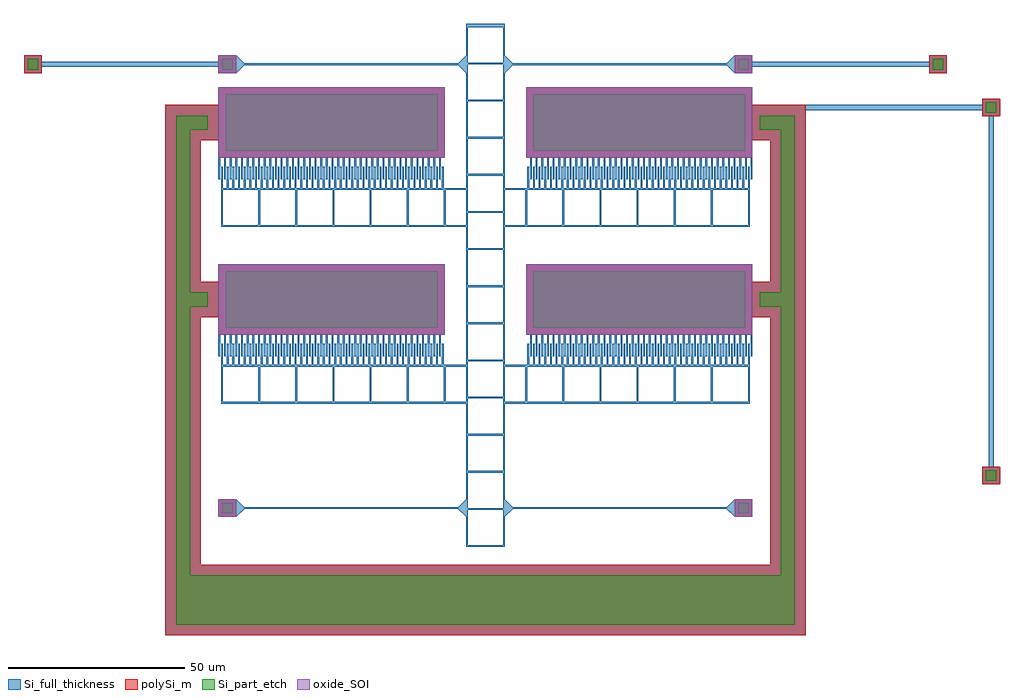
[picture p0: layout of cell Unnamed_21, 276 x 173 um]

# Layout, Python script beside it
import gdsfactory as gf
gf.gpdk.PDK.activate() # Activate generic PDK for version of layout not including custom PDK. Will replace references to generic PDK once custom PDK is implemented

# Definitions:
# Young's Modulus Doped PolySi, E: 160 GPa
# Spring/Comb Width,            b: 0.5 um
# Thickness Doped PolySi,       t: 1.5 um
# Length of Spring,             L: 60 um
# Gap of Comb,                  g: 0.3 um
# Voltage of Comb,              V: 10 V
# Permittivity of Free-Space,   e: 8.854 pF/m
# Displacement of Shuttle,      x: 0.55 um
# Number of Combs per CD,       n: 40

# Layers TODO update following placeholders once custom PDK created
DPOLY = (1,0) # doped poly
PSG = (2,0) # doped oxide, psg
UDPOLY = (3,0) # undoped poly
UDOXIDE = (4,0) # undoped oxide
METAL = (5,0) # metal
SOI = (6,0) # SOI Si


# Shuttle Code
shuttle = gf.Component() # Shuttle top-level component

# Longitudinal axis of shuttle
axis_outline = gf.Component()
axis_outline_pts = [(0,0),(11,0),(11,148),(0,148)] # 148um fits 14 10um etch holes at 10.5um pitch.
axis_outline.add_polygon(axis_outline_pts, layer=DPOLY)

# Single Etch Hole
etch_hole = gf.Component("Single Etch Hole")
etch_hole_pts = [(0.5,0.5),(10.5,0.5),(10.5,10.5),(0.5,10.5)]
etch_hole.add_polygon(etch_hole_pts, layer=DPOLY)

# Etch Hole Array
n_holes = 14
etch_holes = gf.Component("Etch Hole Array")
etch_holes.add_ref(etch_hole,
                   columns=1,
                   rows=n_holes,
                   column_pitch=10.5,
                   row_pitch=10.5)

shuttle = gf.boolean(A=axis_outline, B=etch_holes, operation="not", layer1=DPOLY, layer2=DPOLY, layer=DPOLY)

# Spring Code
spring = gf.Component()

# Linear Spring Code (uncomment to select)
spring_anchor = gf.Component()
spring_anchor_dpoly_pts = [(0,0),(5,0),(7.5,2.5),(5,5),(0,5)]
spring_anchor_psg_pts = [(1,1),(4,1),(4,4),(1,4)]
spring_anchor_rest_pts = [(0,0),(5,0),(5,5),(0,5)]
spring_anchor.add_polygon(spring_anchor_dpoly_pts, layer=DPOLY)
spring_anchor.add_polygon(spring_anchor_psg_pts, layer=PSG)
spring_anchor.add_polygon(spring_anchor_rest_pts, layer=UDPOLY)
spring_anchor.add_polygon(spring_anchor_rest_pts, layer=SOI)

spring_arm = gf.Component()
spring_arm_pts = [(6.5,2.25),(68.5,2.25),(68.5,2.75),(6.5,2.75)]
spring_arm.add_polygon(spring_arm_pts, layer=DPOLY)

spring_terminal = gf.Component()
spring_terminal_pts = [(67.5,2.5),(70,0),(70,5)]
spring_terminal.add_polygon(spring_terminal_pts, layer=DPOLY)

spring.add_ref(spring_anchor)
spring.add_ref(spring_arm)
spring.add_ref(spring_terminal)
spring.plot()

# Bistable Spring Code (uncomment to select) TODO

# Comb Drive Code
cd = gf.Component()

# Finger width: 0.5um
# Lateral Gap between fingers: 0.3 um
# Finger Pair Period: 2*0.5um + 2*0.3um = 1.6 um
# Width of 40 finger array: 40*1.6 = 64 um

cd_anchor = gf.Component()
cd_anchor_dpoly_pts = [(0,0),(64,0),(64,20),(0,20)]
cd_anchor_psg_pts = [(2,2),(62,2),(62,18),(2,18)]
cd_anchor_udpoly_pts = cd_anchor_dpoly_pts
cd_anchor_soi_pts = cd_anchor_dpoly_pts
cd_anchor.add_polygon(cd_anchor_dpoly_pts, layer=DPOLY)
cd_anchor.add_polygon(cd_anchor_psg_pts, layer=PSG)
cd_anchor.add_polygon(cd_anchor_udpoly_pts, layer=UDPOLY)
cd_anchor.add_polygon(cd_anchor_soi_pts, layer=SOI)

# Initial finger overlap = 3*g = 1 um approx
# Total displacement possible = 1.1um
# Finger length: (3*g + x) * 3 = 6 um approx

cd_finger = gf.Component()
cd_finger_pts = [(0,0),(0,-6),(0.5,-6),(0.5,0)]
cd_finger.add_polygon(cd_finger_pts, layer=DPOLY)

n_fingers = 40
cd.add_ref(cd_anchor)
cd.add_ref(cd_finger,
           columns=n_fingers,
           rows=1,
           column_pitch=1.6,
           row_pitch=1.6)


# Comb Drive Code

# Finger width: 0.5um
# Lateral Gap between fingers: 0.3 um
# Finger Pair Period: 2*0.5um + 2*0.3um = 1.6 um
# Width of 40 finger array: 40*1.6 = 64 um

cd_mov_anchor = gf.Component()
cd_mov_anchor_dpoly_pts = [(0,0),(69.5,0),(69.5,11),(0,11)]
cd_mov_anchor.add_polygon(cd_mov_anchor_dpoly_pts, layer=DPOLY)

etch_holes_cd = gf.Component()
etch_holes_cd.add_ref(etch_hole,
                      columns=7,
                      rows=1,
                      column_pitch=10.5,
                      row_pitch=10.5)

# Initial finger overlap = 3*g = 1 um approx
# Total displacement possible = 1.1um
# Finger length: (3*g + x) * 3 = 6 um approx

cd_finger = gf.Component()
cd_finger_pts = [(0,0),(0,-6),(0.5,-6),(0.5,0)]
cd_finger.add_polygon(cd_finger_pts, layer=DPOLY)

n_fingers = 40
cd_mov = gf.boolean(A=cd_mov_anchor, B=etch_holes_cd, operation="not", layer1=DPOLY, layer2=DPOLY, layer=DPOLY)
cd_mov.add_ref(cd_finger,
           columns=n_fingers,
           rows=1,
           column_pitch=1.6,
           row_pitch=1.6)

# Electrical Interconnect Code TODO determine max length of released poly interconnect by beam width
interconnect = gf.Component()

interconnect_pts = [(0,0),(50,0),(50, 1.5),(0,1.5)]
interconnect.add_polygon(interconnect_pts, layer=DPOLY)
anchor = gf.Component()
anchor_dpoly_pts = [(50,-1.75),(55,-1.75),(55,3.25),(50,3.25)]
anchor_psg_pts = [(51,-0.75),(54,-0.75),(54,2.25),(51,2.25)]
anchor_soi_pts = [(50,-1.75),(55,-1.75),(55,3.25),(50,3.25)]
anchor.add_polygon(anchor_dpoly_pts, layer=DPOLY)
anchor.add_polygon(anchor_psg_pts, layer=PSG)
anchor.add_polygon(anchor_soi_pts, layer=SOI)

interconnect.add_ref(anchor)

interconnect_long = gf.Component()

interconnect_long_pts = [(0,0),(100,0),(100, 1.5),(0,1.5)]
interconnect_long.add_polygon(interconnect_long_pts, layer=DPOLY)
anchor_long = gf.Component()
anchor_long_dpoly_pts = [(100,-1.75),(105,-1.75),(105,3.25),(100,3.25)]
anchor_long_psg_pts = [(101,-0.75),(104,-0.75),(104,2.25),(101,2.25)]
anchor_long_soi_pts = [(100,-1.75),(105,-1.75),(105,3.25),(100,3.25)]
anchor_long.add_polygon(anchor_long_dpoly_pts, layer=DPOLY)
anchor_long.add_polygon(anchor_long_psg_pts, layer=PSG)
anchor_long.add_polygon(anchor_long_soi_pts, layer=SOI)

interconnect_long.add_ref(anchor_long)

# Proof-Mass Code TODO ignoring for now
proof = gf.Component()

# Assemble MEMS Components
mems = gf.Component()

mems.add_ref(shuttle)

s1a = mems.add_ref(spring)
s1b = mems.add_ref(spring)
s2a = mems.add_ref(spring)
s2b = mems.add_ref(spring)

cd1a = mems.add_ref(cd)
cd1b = mems.add_ref(cd)
cd2a = mems.add_ref(cd)
cd2b = mems.add_ref(cd)

cdm1a = mems.add_ref(cd_mov)
cdm1b = mems.add_ref(cd_mov)
cdm2a = mems.add_ref(cd_mov)
cdm2b = mems.add_ref(cd_mov)

ic1 = mems.add_ref(interconnect)
ic2 = mems.add_ref(interconnect)
ic3 = mems.add_ref(interconnect)
ic4 = mems.add_ref(interconnect_long)

# Move Springs
s1a.move(origin=(0,0),destination=(-70,134))
s2a.move(origin=(0,0),destination=(-70,8.5))
s1b.mirror_x().move(origin=(0,0),destination=(81,134))
s2b.mirror_x().move(origin=(0,0),destination=(81,8.5))

# Move Comb Drives
cd1a.move(origin=(0,0),destination=(-70,110))
cd2a.move(origin=(0,0),destination=(-70,60))
cd1b.mirror_x().move(origin=(0,0),destination=(81,110))
cd2b.mirror_x().move(origin=(0,0),destination=(81,60))

# Move Comb Drive Complements
cdm1a.mirror_y().move(origin=(0,0),destination=(-69.25,101.5))
cdm2a.mirror_y().move(origin=(0,0),destination=(-69.25,51.5))
cdm1b.mirror_x().mirror_y().move(origin=(0,0),destination=(80.25,101.5))
cdm2b.mirror_x().mirror_y().move(origin=(0,0),destination=(80.25,51.5))

# Move Interconnects
ic1.move(origin=(0,0),destination=(81,135.75))
ic2.mirror_x().move(origin=(0,0),destination=(-70,135.75))
ic3.move(origin=(0,0),destination=(96,123.5))
ic4.move(origin=(0,0.75),destination=(148.5,122.75)).rotate(angle=-90,center=(148.5,122.75))

# Comb-Drive Node
cdn = gf.Component()
cdn_pts = [(81,125),(96,125),(96,-25),(-85,-25),(-85,125),(-70,125),(-70,115),(-75,115),(-75,75),(-70,75),(-70,65),(-75,65),(-75,-5),(86,-5),(86,65),(81,65),(81,75),(86,75),(86,115),(81,115)]
cdn_psg_pts = [(83,122),(93,122),(93,-22),(-82,-22),(-82,122),(-73,122),(-73,118),(-78,118),(-78,72),(-73,72),(-73,68),(-78,68),(-78,-8),(89,-8),(89,68),(83,68),(83,72),(89,72),(89,118),(83,118)]
cdn.add_polygon(cdn_pts, layer=DPOLY)
cdn.add_polygon(cdn_psg_pts, layer=PSG)
cdn.add_polygon(cdn_pts, layer=SOI)
mems.add_ref(cdn)

if __name__ == "__main__":
    mems.write_gds("./mems.gds")
    mems.show()
